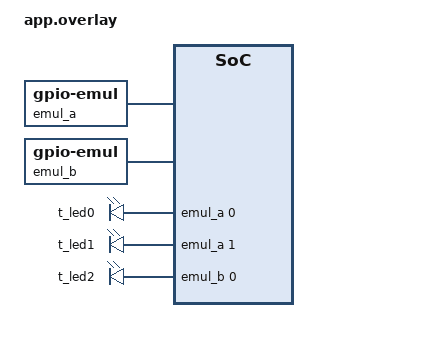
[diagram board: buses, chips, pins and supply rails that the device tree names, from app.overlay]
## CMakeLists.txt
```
cmake_minimum_required(VERSION 3.20.0)
find_package(Zephyr REQUIRED HINTS $ENV{ZEPHYR_BASE})
project(ledmux_unit)
target_sources(app PRIVATE src/test_ledmux.c ../../src/ledmux.c)
target_include_directories(app PRIVATE ../../src)
```

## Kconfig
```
rsource "../../Kconfig.ledmux"

source "Kconfig.zephyr"
```

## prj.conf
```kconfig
CONFIG_ZTEST=y
CONFIG_GPIO=y
CONFIG_GPIO_EMUL=y
CONFIG_LOG=y
CONFIG_LEDMUX_SLOW_MS=200
CONFIG_LEDMUX_NORMAL_MS=100
CONFIG_LEDMUX_FAST_MS=40
```

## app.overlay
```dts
/ {
	aliases {
		led0 = &t_led0;
		led1 = &t_led1;
		led2 = &t_led2;
	};

	/* controlador normal, ja fica pronto no boot */
	emul_a: gpio_emul_a {
		compatible = "zephyr,gpio-emul";
		gpio-controller;
		#gpio-cells = <2>;
		ngpios = <4>;
		status = "okay";
	};

	/* esse so fica pronto quando o teste chamar device_init(),
	 * serve pra testar a falha do init */
	emul_b: gpio_emul_b {
		compatible = "zephyr,gpio-emul";
		gpio-controller;
		#gpio-cells = <2>;
		ngpios = <4>;
		zephyr,deferred-init;
		status = "okay";
	};

	test_leds {
		compatible = "gpio-leds";

		t_led0: t_led0 {
			gpios = <&emul_a 0 GPIO_ACTIVE_HIGH>;
		};
		t_led1: t_led1 {
			gpios = <&emul_a 1 GPIO_ACTIVE_HIGH>;
		};
		t_led2: t_led2 {
			gpios = <&emul_b 0 GPIO_ACTIVE_HIGH>;
		};
	};
};
```

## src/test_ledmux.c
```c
#include <errno.h>

#include <zephyr/device.h>
#include <zephyr/drivers/gpio.h>
#include <zephyr/drivers/gpio/gpio_emul.h>
#include <zephyr/kernel.h>
#include <zephyr/ztest.h>

#include "ledmux.h"

#define SAMPLE_MS 2

static const struct gpio_dt_spec pins[] = {
	GPIO_DT_SPEC_GET(DT_ALIAS(led0), gpios),
	GPIO_DT_SPEC_GET(DT_ALIAS(led1), gpios),
	GPIO_DT_SPEC_GET(DT_ALIAS(led2), gpios),
};
#define NUM_LEDS ARRAY_SIZE(pins)

/* controlador do led2, que no overlay tem zephyr,deferred-init */
static const struct device *const deferred_ctlr =
	DEVICE_DT_GET(DT_GPIO_CTLR(DT_ALIAS(led2), gpios));

/* lÊ o pino de verdade (no GPIO emulado), não o estado interno do modulo */
static int level(size_t i)
{
	return gpio_emul_output_get(pins[i].port, pins[i].pin);
}

struct obs {
	int changes;
	int last;
	bool saw_on;
	bool saw_off;
};

/* fica olhando os n primeiros LEDs por window_ms, amostrando de 2 em 2 ms.
 * Conta quantas vezes o pino mudou e se chegou a ver ligado e desligado */
static void observe(struct obs *o, size_t n, int window_ms)
{
	for (size_t i = 0; i < n; i++) {
		int v = level(i);

		o[i] = (struct obs){.last = v, .saw_on = (v == 1), .saw_off = (v == 0)};
	}

	for (int t = 0; t < window_ms; t += SAMPLE_MS) {
		k_msleep(SAMPLE_MS);
		for (size_t i = 0; i < n; i++) {
			int v = level(i);

			if (v != o[i].last) {
				o[i].changes++;
				o[i].last = v;
			}
			o[i].saw_on |= (v == 1);
			o[i].saw_off |= (v == 0);
		}
	}
}

/* suite 0: precisa rodar antes da outra, porque aqui o controlador ainda nao
 * está pronto. Confio na ordem alfabetica dos nomes (por isso o 0_ e o 1_) */

ZTEST(ledmux_0_init_fail, test_init_fails_when_controller_not_ready)
{
	zassert_false(device_is_ready(deferred_ctlr),
		      "controlador deveria estar não pronto (suite rodou fora de ordem?)");
	zassert_equal(ledmux_init(), -ENODEV);
	/* sem init válido as outras chamadas tambem tem que falhar */
	zassert_equal(ledmux_on(0), -ENODEV);
}

ZTEST_SUITE(ledmux_0_init_fail, NULL, NULL, NULL, NULL, NULL);

/* suite 1: o resto dos testes */

static void *suite_setup(void)
{
	/* agora sim, inicializa na mão o controlador que estava atrasado */
	int ret = device_init(deferred_ctlr);

	zassert_true(ret == 0 || ret == -EALREADY, "device_init falhou: %d", ret);
	zassert_true(device_is_ready(deferred_ctlr));
	return NULL;
}

static void before_each(void *fixture)
{
	ARG_UNUSED(fixture);
	zassert_ok(ledmux_init());
}

static void after_each(void *fixture)
{
	ARG_UNUSED(fixture);
	ledmux_apply_all(LEDMUX_ACT_OFF);
}

ZTEST(ledmux_1_behavior, test_init_ok_and_all_off)
{
	zassert_equal(ledmux_count(), NUM_LEDS);
	for (size_t i = 0; i < NUM_LEDS; i++) {
		zassert_equal(level(i), 0, "LED %u deveria iniciar desligado", (unsigned int)i);
	}
}

ZTEST(ledmux_1_behavior, test_reinit_does_not_break_timer)
{
	struct obs o[1];

	zassert_ok(ledmux_blink(0, LEDMUX_FAST));
	k_msleep(100);

	/* init de novo tem que parar o pisca e apagar */
	zassert_ok(ledmux_init());
	observe(o, 1, 200);
	zassert_equal(o[0].changes, 0);
	zassert_equal(o[0].last, 0);

	/* e o timer tem que continuar funcionando */
	zassert_ok(ledmux_blink(0, LEDMUX_FAST));
	observe(o, 1, 200);
	zassert_true(o[0].changes >= 2, "pisca não voltou depois do re-init");
}

ZTEST(ledmux_1_behavior, test_on_off_toggle_change_pin)
{
	zassert_ok(ledmux_on(0));
	zassert_equal(level(0), 1);

	zassert_ok(ledmux_off(0));
	zassert_equal(level(0), 0);

	zassert_ok(ledmux_toggle(0));
	zassert_equal(level(0), 1);
	zassert_ok(ledmux_toggle(0));
	zassert_equal(level(0), 0);

	/* os outros nao podem ter mexido */
	zassert_equal(level(1), 0);
	zassert_equal(level(2), 0);
}

ZTEST(ledmux_1_behavior, test_blink_pin_goes_on_and_off)
{
	struct obs o[1];

	zassert_ok(ledmux_blink(0, LEDMUX_NORMAL));
	observe(o, 1, 5 * CONFIG_LEDMUX_NORMAL_MS);
	zassert_true(o[0].saw_on, "nunca ligou");
	zassert_true(o[0].saw_off, "nunca desligou");
	zassert_true(o[0].changes >= 3);
}

ZTEST(ledmux_1_behavior, test_faster_led_toggles_more)
{
	struct obs o[2];

	zassert_ok(ledmux_blink(0, LEDMUX_FAST));
	zassert_ok(ledmux_blink(1, LEDMUX_SLOW));
	observe(o, 2, 1000);

	zassert_true(o[1].changes >= 2, "LED lento deveria trocar algumas vezes");
	zassert_true(o[0].changes > o[1].changes, "rapido=%d lento=%d", o[0].changes, o[1].changes);
}

ZTEST(ledmux_1_behavior, test_stopping_one_keeps_other_blinking)
{
	struct obs o[2];

	zassert_ok(ledmux_blink(0, LEDMUX_FAST));
	zassert_ok(ledmux_blink(1, LEDMUX_FAST));
	k_msleep(100);

	zassert_ok(ledmux_off(1));
	observe(o, 2, 300);
	zassert_true(o[0].changes >= 3, "LED 0 deveria continuar piscando");
	zassert_equal(o[1].changes, 0, "LED 1 deveria ter parado");
	zassert_equal(o[1].last, 0);
}

ZTEST(ledmux_1_behavior, test_on_cancels_blink)
{
	struct obs o[1];

	zassert_ok(ledmux_blink(0, LEDMUX_FAST));
	k_msleep(100);
	zassert_ok(ledmux_on(0));
	observe(o, 1, 200);
	zassert_equal(o[0].changes, 0);
	zassert_equal(o[0].last, 1);
}

ZTEST(ledmux_1_behavior, test_off_cancels_blink)
{
	struct obs o[1];

	zassert_ok(ledmux_blink(0, LEDMUX_FAST));
	k_msleep(100);
	zassert_ok(ledmux_off(0));
	observe(o, 1, 200);
	zassert_equal(o[0].changes, 0);
	zassert_equal(o[0].last, 0);
}

ZTEST(ledmux_1_behavior, test_toggle_cancels_blink)
{
	struct obs o[1];

	zassert_ok(ledmux_blink(0, LEDMUX_FAST));
	k_msleep(100);
	zassert_ok(ledmux_toggle(0));

	int after_toggle = level(0);

	observe(o, 1, 200);
	zassert_equal(o[0].changes, 0);
	zassert_equal(o[0].last, after_toggle);
}

ZTEST(ledmux_1_behavior, test_apply_all)
{
	struct obs o[NUM_LEDS];

	zassert_ok(ledmux_apply_all(LEDMUX_ACT_ON));
	for (size_t i = 0; i < NUM_LEDS; i++) {
		zassert_equal(level(i), 1);
	}

	zassert_ok(ledmux_apply_all(LEDMUX_ACT_OFF));
	for (size_t i = 0; i < NUM_LEDS; i++) {
		zassert_equal(level(i), 0);
	}

	zassert_ok(ledmux_apply_all(LEDMUX_ACT_TOGGLE));
	for (size_t i = 0; i < NUM_LEDS; i++) {
		zassert_equal(level(i), 1);
	}

	zassert_ok(ledmux_apply_all(LEDMUX_ACT_BLINK_FAST));
	observe(o, NUM_LEDS, 300);
	for (size_t i = 0; i < NUM_LEDS; i++) {
		zassert_true(o[i].changes >= 3, "LED %u não piscou", (unsigned int)i);
	}
}

ZTEST(ledmux_1_behavior, test_invalid_args)
{
	size_t bad = ledmux_count();

	zassert_equal(ledmux_on(bad), -EINVAL);
	zassert_equal(ledmux_off(bad), -EINVAL);
	zassert_equal(ledmux_toggle(bad), -EINVAL);
	zassert_equal(ledmux_blink(bad, LEDMUX_SLOW), -EINVAL);
	zassert_equal(ledmux_blink(0, LEDMUX_PATTERN_COUNT), -EINVAL);
	zassert_equal(ledmux_blink(0, (enum ledmux_pattern)99), -EINVAL);
	zassert_equal(ledmux_apply(0, LEDMUX_ACT_COUNT), -EINVAL);
	zassert_equal(ledmux_get(bad), -EINVAL);

	/* e o LED válido não foi afetado */
	zassert_equal(level(0), 0);
}

ZTEST_SUITE(ledmux_1_behavior, NULL, suite_setup, before_each, after_each, NULL);
```

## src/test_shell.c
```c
#include <string.h>
#include <zephyr/ztest.h>
#include "cmd.h"
#include "line.h"

static bool led_state, btn_state;

static int f_set(bool on)
{
	led_state = on;
	return 0;
}

static int f_get(void)
{
	return led_state;
}

static int f_btn(void)
{
	return btn_state;
}

static const struct cmd_hw hw = {f_set, f_get, f_btn};
static char out[128];

static enum line_ev feed_str(struct line *l, const char *s)
{
	enum line_ev ev = LINE_NONE;

	while (*s) {
		ev = line_feed(l, (uint8_t)*s++);
	}
	return ev;
}

ZTEST(cmd, test_help)
{
	zassert_equal(cmd_execute("help", &hw, out, sizeof(out)), 0);
	zassert_true(strstr(out, "LED") != NULL);
}

ZTEST(cmd, test_led)
{
	led_state = false;
	zassert_equal(cmd_execute("LED ON", &hw, out, sizeof(out)), 0);
	zassert_true(led_state);
	zassert_equal(cmd_execute("led", &hw, out, sizeof(out)), 0);
	zassert_str_equal(out, "LED ON");
	cmd_execute("Led off", &hw, out, sizeof(out));
	zassert_false(led_state);
	zassert_not_equal(cmd_execute("LED XX", &hw, out, sizeof(out)), 0);
}

ZTEST(cmd, test_btn_echo_invalid)
{
	btn_state = true;
	cmd_execute("BTN", &hw, out, sizeof(out));
	zassert_str_equal(out, "BTN PRESSED");
	cmd_execute("ECHO Oi Mundo", &hw, out, sizeof(out));
	zassert_str_equal(out, "Oi Mundo");
	zassert_not_equal(cmd_execute("FOO", &hw, out, sizeof(out)), 0);
	zassert_str_equal(out, "ERR: unknown command");
}

ZTEST(cmd, test_null_callbacks)
{
	struct cmd_hw empty = {0};

	zassert_not_equal(cmd_execute("LED ON", &empty, out, sizeof(out)), 0);
	zassert_not_equal(cmd_execute("BTN", &empty, out, sizeof(out)), 0);
	zassert_not_equal(cmd_execute("LED ON", NULL, out, sizeof(out)), 0);
	zassert_not_equal(cmd_execute(NULL, &hw, out, sizeof(out)), 0);
}

ZTEST(line, test_done_and_backspace)
{
	struct line l;

	line_init(&l);
	feed_str(&l, "LEX");
	zassert_equal(line_feed(&l, 0x7F), LINE_ERASE);
	feed_str(&l, "D");
	zassert_equal(line_feed(&l, '\r'), LINE_DONE);
	zassert_str_equal(l.buf, "LED");
	zassert_equal(line_feed(&l, '\n'), LINE_NONE); /* \r\n = uma linha */
}

ZTEST(line, test_too_long)
{
	struct line l;

	line_init(&l);
	for (int i = 0; i < CONFIG_MINISHELL_LINE_MAX + 10; i++) {
		line_feed(&l, 'a');
	}
	zassert_equal(line_feed(&l, '\n'), LINE_TOO_LONG);

	/* proxima linha funciona normalmente */
	feed_str(&l, "HELP");
	zassert_equal(line_feed(&l, '\n'), LINE_DONE);
	zassert_str_equal(l.buf, "HELP");
}

ZTEST(line, test_exact_max)
{
	struct line l;

	line_init(&l);
	for (int i = 0; i < CONFIG_MINISHELL_LINE_MAX; i++) {
		line_feed(&l, 'a');
	}
	zassert_equal(line_feed(&l, '\n'), LINE_DONE);
}

ZTEST_SUITE(cmd, NULL, NULL, NULL, NULL, NULL);
ZTEST_SUITE(line, NULL, NULL, NULL, NULL, NULL);
```
